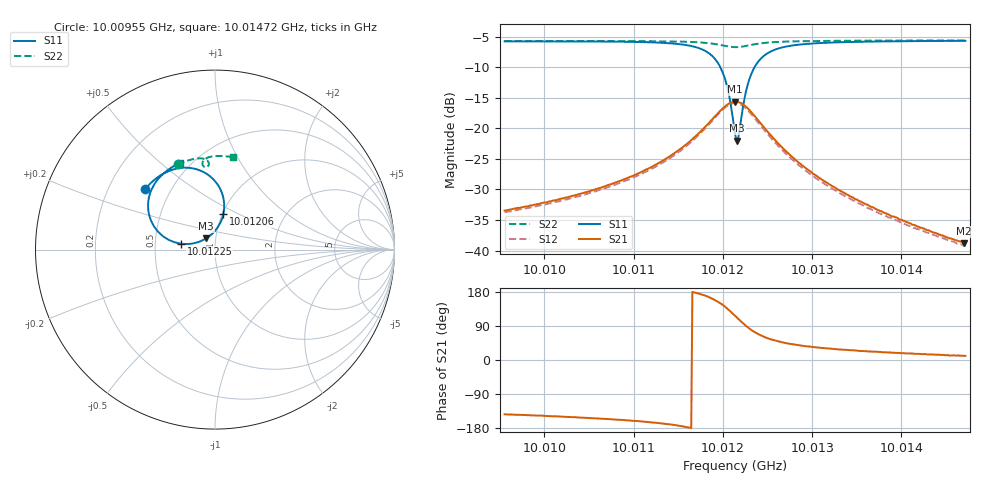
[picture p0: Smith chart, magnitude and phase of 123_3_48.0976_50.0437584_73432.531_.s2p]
#  HZ  S  RI  R  50.00
! Rohde & Schwarz Vector Network Analyzer
! Rohde-Schwarz,ZNB20-2Port,1311601062101988,3.16
! Created: UTC 12/23/2023, 3:47:00 AM
! freq[Hz]  re:S11  im:S11  re:S21  im:S21  re:S12  im:S12  re:S22  im:S22
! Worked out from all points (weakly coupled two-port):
!   401 points, 10.00955 GHz to 10.01472 GHz, reference 50 ohm
!   highest |S21| = -15.61 dB at 10.01213 GHz (marker M1); lowest = -38.8 dB at 10.0147 GHz (marker M2)
!   lowest |S11| = -22.0 dB at 10.01216 GHz (marker M3), VSWR 1.17, Z = 45 + j5.7 ohm
!   |S11| at or under -10 dB: 10.01197 GHz to 10.01235 GHz (382.9 kHz wide, 0.00382 % of centre)
!   |S22| runs from -6.7 to -5.6 dB; largest |S21 - S12| = 0.0082
!   S11 on the Smith chart (normalised r, x): 10.00955 GHz: 0.36, +0.33; 10.01206 GHz: 1.01, +0.42; 10.01225 GHz: 0.68, +0.05; 10.01472 GHz: 0.44, +0.58
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1.0009553e10  -0.3885 0.3383  -0.017 -0.0127  -0.0158 -0.0132  -0.2085 0.4742
1.0010418e10  -0.3334 0.3921  -0.026 -0.0136  -0.0242 -0.0144  -0.1544 0.4953
1.0010909e10  -0.287 0.4238  -0.036 -0.0139  -0.034 -0.0152  -0.1211 0.5041
1.0011283e10  -0.2312 0.4472  -0.0508 -0.0122  -0.0481 -0.0145  -0.0932 0.5083
1.0011644e10  -0.1308 0.454  -0.0801 -0.000641  -0.0773 -0.00464  -0.0617 0.5062
1.0011838e10  -0.0337 0.4129  -0.1068 0.0259  -0.1049 0.0196  -0.0428 0.4965
1.0011967e10  0.0375 0.318  -0.1202 0.0689  -0.1204 0.0611  -0.0342 0.4811
1.0012019e10  0.051 0.254  -0.1177 0.0936  -0.1186 0.0864  -0.0346 0.473
1.0012057e10  0.0464 0.1979  -0.1092 0.114  -0.1117 0.1063  -0.0371 0.4671
1.0012135e10  -0.0141 0.0897  -0.0744 0.1481  -0.0778 0.1413  -0.0484 0.4597
1.0012161e10  -0.0485 0.0629  -0.059 0.1541  -0.0625 0.148  -0.0532 0.4594
1.0012186e10  -0.0876 0.0439  -0.0429 0.1572  -0.0465 0.1513  -0.0577 0.4603
1.0012251e10  -0.1875 0.0327  -0.00378 0.1519  -0.00819 0.1467  -0.0665 0.4672
1.001229e10  -0.2401 0.0465  0.015 0.1421  0.00967 0.1372  -0.0692 0.4732
1.0012341e10  -0.2943 0.0784  0.0324 0.1255  0.0266 0.1216  -0.07 0.4811
1.001247e10  -0.3601 0.1709  0.0497 0.0864  0.044 0.0844  -0.0634 0.4972
1.0012703e10  -0.369 0.2858  0.0466 0.0459  0.0421 0.0459  -0.0431 0.5117
1.0013e10  -0.3409 0.3592  0.0355 0.0247  0.0328 0.025  -0.0186 0.5185
1.0013413e10  -0.3004 0.4111  0.0252 0.0125  0.0235 0.0131  0.0127 0.5215
1.0013864e10  -0.2616 0.4443  0.0184 0.00665  0.0171 0.00724  0.0441 0.5211
1.0014703e10  -0.1973 0.4819  0.0113 0.00216  0.0106 0.00267  0.0999 0.5147
1.0014716e10  -0.1964 0.4823  0.0113 0.00219  0.0105 0.00266  0.1007 0.5146
